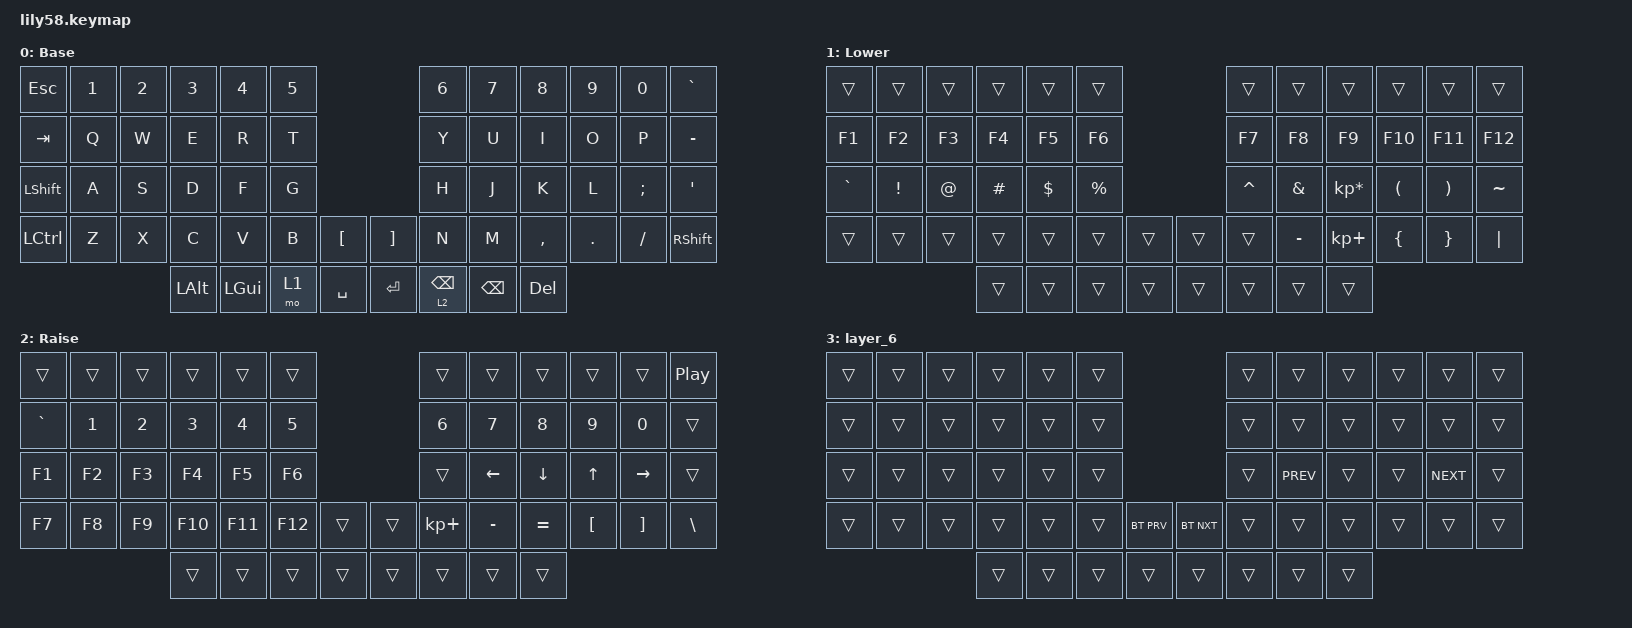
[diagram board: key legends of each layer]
/*
 * Copyright (c) 2020 The ZMK Contributors
 *
 * SPDX-License-Identifier: MIT
 */

#include <behaviors.dtsi>
#include <dt-bindings/zmk/bt.h>
#include <dt-bindings/zmk/keys.h>

/ {
    combos {
        compatible = "zmk,combos";

        bt_j {
            bindings = <&bt BT_CLR>;
            key-positions = <0 11>;
            layers = <3>;
        };
    };

    behaviors {
        layer_bksp: layer_bksp {
            compatible = "zmk,behavior-hold-tap";
            label = "LAYER_BKSP";
            bindings = <&mo>, <&kp>;

            #binding-cells = <2>;
            flavor = "hold-preferred";
            hold-trigger-key-positions = <55>;
            tapping-term-ms = <200>;
        };
    };

    keymap {
        compatible = "zmk,keymap";

        default_layer {
            // ------------------------------------------------------------------------------------------------------------
            // |  ESC  |  1  |  2  |  3   |  4   |  5   |                   |  6   |  7    |  8    |  9   |   0   |   `   |
            // |  TAB  |  Q  |  W  |  E   |  R   |  T   |                   |  Y   |  U    |  I    |  O   |   P   |   -   |
            // |  CTRL |  A  |  S  |  D   |  F   |  G   |                   |  H   |  J    |  K    |  L   |   ;   |   '   |
            // | SHIFT |  Z  |  X  |  C   |  V   |  B   |   "["  |  |  "]"  |  N   |  M    |  ,    |  .   |   /   | SHIFT |
            //                     | ALT  | GUI  | LOWER|  SPACE |  | ENTER | RAISE| BSPC  | GUI   |

            display-name = "Base";
            bindings = <
&kp ESC         &kp N1  &kp N2  &kp N3    &kp N4    &kp N5                         &kp N6                   &kp N7    &kp N8     &kp N9   &kp N0    &kp GRAVE
&kp TAB         &kp Q   &kp W   &kp E     &kp R     &kp T                          &kp Y                    &kp U     &kp I      &kp O    &kp P     &kp MINUS
&kp LEFT_SHIFT  &kp A   &kp S   &kp D     &kp F     &kp G                          &kp H                    &kp J     &kp K      &kp L    &kp SEMI  &kp SQT
&kp LCTRL       &kp Z   &kp X   &kp C     &kp V     &kp B   &kp LBKT     &kp RBKT  &kp N                    &kp M     &kp COMMA  &kp DOT  &kp FSLH  &kp RSHFT
                                &kp LALT  &kp LGUI  &mo 1   &kp SPACE    &kp RET   &layer_bksp 2 BACKSPACE  &kp BSPC  &kp DEL
            >;
        };

        lower_layer {
            // ------------------------------------------------------------------------------------------------------------
            // | BTCLR | BT1 | BT2 |  BT3 |  BT4 |  BT5 |                   |      |       |       |      |       |       |
            // |  F1   |  F2 |  F3 |  F4  |  F5  |  F6  |                   |  F7  |  F8   |  F9   |  F10 |  F11  |  F12  |
            // |   `   |  !  |  @  |  #   |  $   |  %   |                   |  ^   |  &    |  *    |  (   |   )   |   ~   |
            // |       |     |     |      |      |      |        |  |       |      |  _    |  +    |  {   |   }   |  "|"  |
            //                     |      |      |      |        |  |       |      |       |       |

            display-name = "Lower";
            bindings = <
&trans     &trans    &trans  &trans    &trans      &trans                       &trans     &trans     &trans           &trans    &trans    &trans
&kp F1     &kp F2    &kp F3  &kp F4    &kp F5      &kp F6                       &kp F7     &kp F8     &kp F9           &kp F10   &kp F11   &kp F12
&kp GRAVE  &kp EXCL  &kp AT  &kp HASH  &kp DOLLAR  &kp PRCNT                    &kp CARET  &kp AMPS   &kp KP_MULTIPLY  &kp LPAR  &kp RPAR  &kp TILDE
&trans     &trans    &trans  &trans    &trans      &trans     &trans    &trans  &trans     &kp MINUS  &kp KP_PLUS      &kp LBRC  &kp RBRC  &kp PIPE
                             &trans    &trans      &trans     &trans    &trans  &trans     &trans     &trans
            >;
        };

        raise_layer {
            // ------------------------------------------------------------------------------------------------------------
            // |       |     |     |      |      |      |                   |      |       |       |      |       |       |
            // |   `   |  1  |  2  |  3   |  4   |  5   |                   |  6   |   7   |   8   |  9   |   0   |       |
            // |   F1  |  F2 |  F3 |  F4  |  F5  |  F6  |                   |      |   <-  |   v   |  ^   |  ->   |       |
            // |   F7  |  F8 |  F9 |  F10 |  F11 |  F12 |        |  |       |  +   |   -   |   =   |  [   |   ]   |   \   |
            //                     |      |      |      |        |  |       |      |       |       |

            display-name = "Raise";
            bindings = <
&trans     &trans  &trans  &trans   &trans   &trans                     &trans       &trans     &trans     &trans    &trans     &kp C_PLAY_PAUSE
&kp GRAVE  &kp N1  &kp N2  &kp N3   &kp N4   &kp N5                     &kp N6       &kp N7     &kp N8     &kp N9    &kp N0     &trans
&kp F1     &kp F2  &kp F3  &kp F4   &kp F5   &kp F6                     &trans       &kp LEFT   &kp DOWN   &kp UP    &kp RIGHT  &trans
&kp F7     &kp F8  &kp F9  &kp F10  &kp F11  &kp F12  &trans    &trans  &kp KP_PLUS  &kp MINUS  &kp EQUAL  &kp LBKT  &kp RBKT   &kp BSLH
                           &trans   &trans   &trans   &trans    &trans  &trans       &trans     &trans
            >;
        };

        layer_6 {
            bindings = <
&trans  &trans  &trans  &trans  &trans  &trans                            &trans  &trans      &trans  &trans  &trans      &trans
&trans  &trans  &trans  &trans  &trans  &trans                            &trans  &trans      &trans  &trans  &trans      &trans
&trans  &trans  &trans  &trans  &trans  &trans                            &trans  &kp C_PREV  &trans  &trans  &kp C_NEXT  &trans
&trans  &trans  &trans  &trans  &trans  &trans  &bt BT_PRV    &bt BT_NXT  &trans  &trans      &trans  &trans  &trans      &trans
                        &trans  &trans  &trans  &trans        &trans      &trans  &trans      &trans
            >;
        };
    };

    conditional_layers {
        compatible = "zmk,conditional-layers";

        triple {
            if-layers = <1 2>;
            then-layer = <3>;
        };
    };
};
